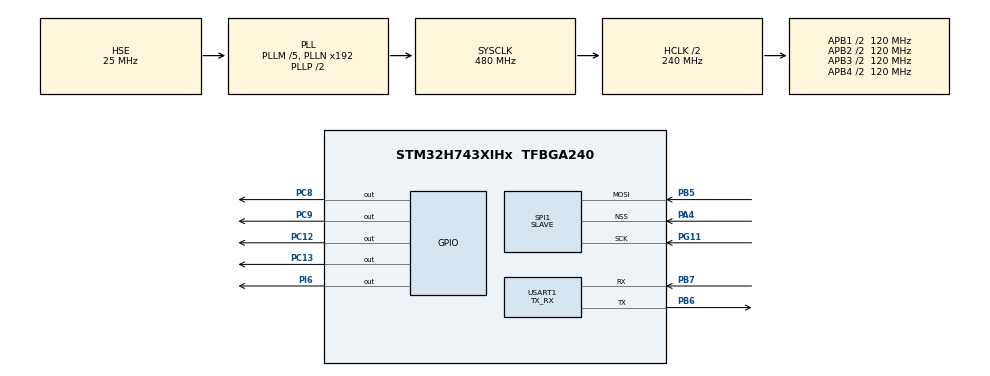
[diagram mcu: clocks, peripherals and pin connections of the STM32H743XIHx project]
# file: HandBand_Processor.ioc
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CORTEX_M7.CPU_DCache=Enabled
CORTEX_M7.CPU_ICache=Enabled
CORTEX_M7.default_mode_Activation=1
Dma.Request0=SPI1_RX
Dma.SPI1_RX.0.Direction=DMA_PERIPH_TO_MEMORY
Dma.SPI1_RX.0.EventEnable=DISABLE
Dma.SPI1_RX.0.FIFOMode=DMA_FIFOMODE_DISABLE
Dma.SPI1_RX.0.Instance=DMA1_Stream0
Dma.SPI1_RX.0.MemDataAlignment=DMA_MDATAALIGN_BYTE
Dma.SPI1_RX.0.MemInc=DMA_MINC_ENABLE
Dma.SPI1_RX.0.Mode=DMA_NORMAL
Dma.SPI1_RX.0.PeriphDataAlignment=DMA_PDATAALIGN_BYTE
Dma.SPI1_RX.0.PeriphInc=DMA_PINC_DISABLE
Dma.SPI1_RX.0.Polarity=HAL_DMAMUX_REQ_GEN_RISING
Dma.SPI1_RX.0.Priority=DMA_PRIORITY_LOW
Dma.SPI1_RX.0.RequestNumber=1
Dma.SPI1_RX.0.SignalID=NONE
Dma.SPI1_RX.0.SyncEnable=DISABLE
Dma.SPI1_RX.0.SyncPolarity=HAL_DMAMUX_SYNC_NO_EVENT
Dma.SPI1_RX.0.SyncRequestNumber=1
Dma.SPI1_RX.0.SyncSignalID=NONE
FREERTOS.Tasks01=defaultTask,0,128,StartDefaultTask,Default,NULL,Dynamic,NULL,NULL;ListenerTask,0,128,Listener,Default,NULL,Dynamic,NULL,NULL;ControllerTask,0,128,Controller,Default,NULL,Dynamic,NULL,NULL;PresenterTask,0,128,Presenter,Default,NULL,Dynamic,NULL,NULL
FREERTOS.configUSE_NEWLIB_REENTRANT=1
Mcu.Family=STM32H7
Mcu.Name=STM32H743XIHx
Mcu.Package=TFBGA240
NVIC.DMA1_Stream0_IRQn=true\:5\:0\:false\:false\:true\:true\:false\:true\:true
NVIC.PriorityGroup=NVIC_PRIORITYGROUP_4
NVIC.SPI1_IRQn=true\:5\:0\:false\:false\:true\:true\:true\:true\:true
NVIC.TIM17_IRQn=true\:15\:0\:false\:false\:true\:false\:false\:true\:true
NVIC.TimeBase=TIM17_IRQn
NVIC.TimeBaseIP=TIM17
NVIC.USART1_IRQn=true\:5\:0\:false\:false\:true\:true\:true\:true\:true
PA13\ (JTMS/SWDIO).Mode=Serial_Wire
PA13\ (JTMS/SWDIO).Signal=DEBUG_JTMS-SWDIO
PA14\ (JTCK/SWCLK).Mode=Serial_Wire
PA14\ (JTCK/SWCLK).Signal=DEBUG_JTCK-SWCLK
PA4.Mode=NSS_Signal_Hard_Input
PA4.Signal=SPI1_NSS
PB5.Mode=RX_Only_Simplex_Unidirect_Slave
PB5.Signal=SPI1_MOSI
PB6.Mode=Asynchronous
PB6.Signal=USART1_TX
PB7.Mode=Asynchronous
PB7.Signal=USART1_RX
PC12.Signal=GPIO_Output
PC13.Signal=GPIO_Output
PC8.Signal=GPIO_Output
PC9.Signal=GPIO_Output
PG11.Mode=RX_Only_Simplex_Unidirect_Slave
PG11.Signal=SPI1_SCK
PH0-OSC_IN\ (PH0).Mode=HSE-External-Oscillator
PH0-OSC_IN\ (PH0).Signal=RCC_OSC_IN
PH1-OSC_OUT\ (PH1).Mode=HSE-External-Oscillator
PH1-OSC_OUT\ (PH1).Signal=RCC_OSC_OUT
PI6.Signal=GPIO_Output
ProjectManager.HeapSize=0x200
ProjectManager.StackSize=0x400
ProjectManager.TargetToolchain=STM32CubeIDE
RCC.ADCFreq_Value=50390625
RCC.APB1Freq_Value=120000000
RCC.APB2Freq_Value=120000000
RCC.APB3Freq_Value=120000000
RCC.APB4Freq_Value=120000000
RCC.CortexFreq_Value=480000000
RCC.D1PPRE=RCC_APB3_DIV2
RCC.D2PPRE1=RCC_APB1_DIV2
RCC.D2PPRE2=RCC_APB2_DIV2
RCC.D3PPRE=RCC_APB4_DIV2
RCC.DIVM1=5
RCC.DIVM3=5
RCC.DIVN1=192
RCC.DIVN3=55
RCC.DIVP3=55
RCC.DIVQ1=5
RCC.HCLKFreq_Value=240000000
RCC.HPRE=RCC_HCLK_DIV2
RCC.PLL2FRACN=0
RCC.PLL3FRACN=0
RCC.PLLFRACN=0
RCC.PLLSourceVirtual=RCC_PLLSOURCE_HSE
RCC.SPI123CLockSelection=RCC_SPI123CLKSOURCE_PLL3
RCC.SYSCLKFreq_VALUE=480000000
RCC.SYSCLKSource=RCC_SYSCLKSOURCE_PLLCLK
RCC.USBFreq_Value=192000000
SPI1.DataSize=SPI_DATASIZE_8BIT
SPI1.Direction=SPI_DIRECTION_2LINES_RXONLY
SPI1.Mode=SPI_MODE_SLAVE
SPI1.VirtualNSS=VM_NSSHARD
SPI1.VirtualType=VM_SLAVE
USART1.Mode=MODE_TX_RX
USART1.VirtualMode-Asynchronous=VM_ASYNC
VP_FREERTOS_VS_CMSIS_V1.Mode=CMSIS_V1
VP_MEMORYMAP_VS_MEMORYMAP.Mode=CurAppReg
VP_SYS_VS_tim17.Mode=TIM17
board=custom

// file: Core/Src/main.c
/* USER CODE BEGIN Header */
/**
  ******************************************************************************
  * @file           : main.c
  * @brief          : Main program body
  ******************************************************************************
  * @attention
  *
  * Copyright (c) 2025 STMicroelectronics.
  * All rights reserved.
  *
  * This software is licensed under terms that can be found in the LICENSE file
  * in the root directory of this software component.
  * If no LICENSE file comes with this software, it is provided AS-IS.
  *
  ******************************************************************************
  */
/* USER CODE END Header */
#include "main.h"
#include "cmsis_os.h"
#include "dma.h"
#include "spi.h"
#include "usart.h"
#include "gpio.h"

/* USER CODE BEGIN Includes */
#include "Listener.h"
/* USER CODE END Includes */

void SystemClock_Config(void);
static void MPU_Config(void);
void MX_FREERTOS_Init(void);

/* USER CODE BEGIN 0 */
//**** HEEJU Additional SPI_DMA_CALLBACK *******/
//////
/////

int __io_putchar(int ch)
{
   HAL_UART_Transmit(&huart1, (uint8_t *)&ch, 1, 1000);
   return ch;
}

//SPI Callback
void HAL_SPI_RxCpltCallback(SPI_HandleTypeDef *hspi)
{

	if (hspi->Instance == SPI1) {
		rx_flag = 1;

//		tx_data = rx_data;
		char str[50];
		sprintf(str, "In callback: 0x%02X\r\n", rx_data);
		HAL_UART_Transmit(&huart1, (uint8_t *)str, strlen(str), 100);

		 HAL_SPI_Receive_DMA(&hspi1, &rx_data, 1);
		HAL_GPIO_TogglePin(GPIOC, GPIO_PIN_13);

//		HAL_SPI_Receive_DMA(&hspi1, (uint8_t *)&rx_data, 1);

//		HAL_SPI_TransmitReceive_DMA(&hspi1, &tx_data, &rx_data, 1);
//		if(rx_data == 0xaa){
//			HAL_GPIO_WritePin(GPIOC, GPIO_PIN_13, SET);
//		}
//		else if(rx_data == 0x55){
//			HAL_GPIO_WritePin(GPIOC, GPIO_PIN_13, RESET);
//		}

//		if(rx_data == 0xFF){
//			HAL_GPIO_WritePin(GPIOC, GPIO_PIN_9, SET);
//		}
//
//		else if(rx_data == 0x00){
//			HAL_GPIO_WritePin(GPIOC, GPIO_PIN_12, SET);
//		}
//
//		else{
//			HAL_GPIO_WritePin(GPIOI,GPIO_PIN_6, SET);  // 수신 완료 시 깜빡임
//		}
//	}
	}
}

/////test해볼것
//////////////error 확인할 수 있는 함수

//void HAL_SPI_RxCpltCallback(SPI_HandleTypeDef *hspi)
//{.
//	if (hspi->Instance == SPI1) {
//		 HAL_StatusTypeDef status = HAL_SPI_Receive_DMA(&hspi1, (uint8_t *)&rx_data, 1);
//		 if (status == HAL_OK) {
//			rx_flag = 1;
//
//			HAL_SPI_Receive_DMA(&hspi1, (uint8_t *)&rx_data, 1);
//			HAL_GPIO_TogglePin(GPIOC, GPIO_PIN_13);  // 수신 완료 시 깜빡임
//		 }
//	}
//	else{
//		rx_flag = 0;
//		HAL_GPIO_TogglePin(GPIOC, GPIO_PIN_8);
//	}
//}

//UART에도 Delay를 한번 걸어줌
//void HAL_UART_TxCpltCallback(UART_HandleTypeDef *huart)
//{
//    if (huart->Instance == USART1) {
//        uart_tx_busy = 0;  // 전송 완료 표시
//    }
//}

//SPI Error 확인위함
void HAL_SPI_ErrorCallback(SPI_HandleTypeDef *hspi)
{
    if (hspi->Instance == SPI1) {
        char str[50];
        int len = sprintf(str, "SPI Error: 0x%lx\n", hspi->ErrorCode);
        HAL_UART_Transmit_DMA(&huart1, (uint8_t*)str, len);
    }
}

/////
/////
/* USER CODE END 0 */

int main(void)
{

  /* MPU Configuration--------------------------------------------------------*/
  MPU_Config();

  /* Enable the CPU Cache */

  /* Enable I-Cache---------------------------------------------------------*/
  SCB_EnableICache();

  /* Enable D-Cache---------------------------------------------------------*/
  SCB_EnableDCache();

  /* MCU Configuration--------------------------------------------------------*/

  /* Reset of all peripherals, Initializes the Flash interface and the Systick. */
  HAL_Init();

  /* Configure the system clock */
  SystemClock_Config();

  /* Initialize all configured peripherals */
  MX_GPIO_Init();
  MX_DMA_Init();
  MX_SPI1_Init();
  MX_USART1_UART_Init();

  /* Call init function for freertos objects (in cmsis_os2.c) */
  MX_FREERTOS_Init();

  /* Start scheduler */
  osKernelStart();

  /* We should never get here as control is now taken by the scheduler */

  /* Infinite loop */
  while (1)
  {

  }
}

void SystemClock_Config(void)
{
  RCC_OscInitTypeDef RCC_OscInitStruct = {0};
  RCC_ClkInitTypeDef RCC_ClkInitStruct = {0};

  /** Supply configuration update enable
  */
  HAL_PWREx_ConfigSupply(PWR_LDO_SUPPLY);

  /** Configure the main internal regulator output voltage
  */
  __HAL_PWR_VOLTAGESCALING_CONFIG(PWR_REGULATOR_VOLTAGE_SCALE0);

  while(!__HAL_PWR_GET_FLAG(PWR_FLAG_VOSRDY)) {}

  /** Initializes the RCC Oscillators according to the specified parameters
  * in the RCC_OscInitTypeDef structure.
  */
  RCC_OscInitStruct.OscillatorType = RCC_OSCILLATORTYPE_HSE;
  RCC_OscInitStruct.HSEState = RCC_HSE_ON;
  RCC_OscInitStruct.PLL.PLLState = RCC_PLL_ON;
  RCC_OscInitStruct.PLL.PLLSource = RCC_PLLSOURCE_HSE;
  RCC_OscInitStruct.PLL.PLLM = 5;
  RCC_OscInitStruct.PLL.PLLN = 192;
  RCC_OscInitStruct.PLL.PLLP = 2;
  RCC_OscInitStruct.PLL.PLLQ = 5;
  RCC_OscInitStruct.PLL.PLLR = 2;
  RCC_OscInitStruct.PLL.PLLRGE = RCC_PLL1VCIRANGE_2;
  RCC_OscInitStruct.PLL.PLLVCOSEL = RCC_PLL1VCOWIDE;
  RCC_OscInitStruct.PLL.PLLFRACN = 0;
  if (HAL_RCC_OscConfig(&RCC_OscInitStruct) != HAL_OK)
  {
    Error_Handler();
  }

  /** Initializes the CPU, AHB and APB buses clocks
  */
  RCC_ClkInitStruct.ClockType = RCC_CLOCKTYPE_HCLK|RCC_CLOCKTYPE_SYSCLK
                              |RCC_CLOCKTYPE_PCLK1|RCC_CLOCKTYPE_PCLK2
                              |RCC_CLOCKTYPE_D3PCLK1|RCC_CLOCKTYPE_D1PCLK1;
  RCC_ClkInitStruct.SYSCLKSource = RCC_SYSCLKSOURCE_PLLCLK;
  RCC_ClkInitStruct.SYSCLKDivider = RCC_SYSCLK_DIV1;
  RCC_ClkInitStruct.AHBCLKDivider = RCC_HCLK_DIV2;
  RCC_ClkInitStruct.APB3CLKDivider = RCC_APB3_DIV2;
  RCC_ClkInitStruct.APB1CLKDivider = RCC_APB1_DIV2;
  RCC_ClkInitStruct.APB2CLKDivider = RCC_APB2_DIV2;
  RCC_ClkInitStruct.APB4CLKDivider = RCC_APB4_DIV2;

  if (HAL_RCC_ClockConfig(&RCC_ClkInitStruct, FLASH_LATENCY_4) != HAL_OK)
  {
    Error_Handler();
  }
}

 /* MPU Configuration */

void MPU_Config(void)
{
  MPU_Region_InitTypeDef MPU_InitStruct = {0};

  /* Disables the MPU */
  HAL_MPU_Disable();

  /** Initializes and configures the Region and the memory to be protected
  */
  MPU_InitStruct.Enable = MPU_REGION_ENABLE;
  MPU_InitStruct.Number = MPU_REGION_NUMBER0;
  MPU_InitStruct.BaseAddress = 0x0;
  MPU_InitStruct.Size = MPU_REGION_SIZE_4GB;
  MPU_InitStruct.SubRegionDisable = 0x87;
  MPU_InitStruct.TypeExtField = MPU_TEX_LEVEL0;
  MPU_InitStruct.AccessPermission = MPU_REGION_NO_ACCESS;
  MPU_InitStruct.DisableExec = MPU_INSTRUCTION_ACCESS_DISABLE;
  MPU_InitStruct.IsShareable = MPU_ACCESS_SHAREABLE;
  MPU_InitStruct.IsCacheable = MPU_ACCESS_NOT_CACHEABLE;
  MPU_InitStruct.IsBufferable = MPU_ACCESS_NOT_BUFFERABLE;

  HAL_MPU_ConfigRegion(&MPU_InitStruct);
  /* Enables the MPU */
  HAL_MPU_Enable(MPU_PRIVILEGED_DEFAULT);

}

void HAL_TIM_PeriodElapsedCallback(TIM_HandleTypeDef *htim)
{
  if (htim->Instance == TIM17)
  {
    HAL_IncTick();
  }
}

void Error_Handler(void)
{
  __disable_irq();
  while (1)
  {
  }
}

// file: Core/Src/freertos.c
/* USER CODE BEGIN Header */
/**
  ******************************************************************************
  * File Name          : freertos.c
  * Description        : Code for freertos applications
  ******************************************************************************
  * @attention
  *
  * Copyright (c) 2025 STMicroelectronics.
  * All rights reserved.
  *
  * This software is licensed under terms that can be found in the LICENSE file
  * in the root directory of this software component.
  * If no LICENSE file comes with this software, it is provided AS-IS.
  *
  ******************************************************************************
  */
/* USER CODE END Header */

#include "FreeRTOS.h"
#include "task.h"
#include "main.h"
#include "cmsis_os.h"

/* USER CODE BEGIN Includes */
#include "Listener.h"
#include "Controller.h"
#include "Presenter.h"
#include "LC_Model.h"
/* USER CODE END Includes */

osThreadId defaultTaskHandle;
osThreadId ListenerTaskHandle;
osThreadId ControllerTaskHandle;
osThreadId PresenterTaskHandle;

void StartDefaultTask(void const * argument);
void Listener(void const * argument);
void Controller(void const * argument);
void Presenter(void const * argument);

void MX_FREERTOS_Init(void); /* (MISRA C 2004 rule 8.1) */

/* GetIdleTaskMemory prototype (linked to static allocation support) */
void vApplicationGetIdleTaskMemory( StaticTask_t **ppxIdleTaskTCBBuffer, StackType_t **ppxIdleTaskStackBuffer, uint32_t *pulIdleTaskStackSize );

/* USER CODE BEGIN GET_IDLE_TASK_MEMORY */
static StaticTask_t xIdleTaskTCBBuffer;
static StackType_t xIdleStack[configMINIMAL_STACK_SIZE];

void vApplicationGetIdleTaskMemory( StaticTask_t **ppxIdleTaskTCBBuffer, StackType_t **ppxIdleTaskStackBuffer, uint32_t *pulIdleTaskStackSize )
{
  *ppxIdleTaskTCBBuffer = &xIdleTaskTCBBuffer;
  *ppxIdleTaskStackBuffer = &xIdleStack[0];
  *pulIdleTaskStackSize = configMINIMAL_STACK_SIZE;
  /* place for user code */
}
/* USER CODE END GET_IDLE_TASK_MEMORY */

void MX_FREERTOS_Init(void) {

  /* Create the thread(s) */
  /* definition and creation of defaultTask */
  osThreadDef(defaultTask, StartDefaultTask, osPriorityNormal, 0, 128);
  defaultTaskHandle = osThreadCreate(osThread(defaultTask), NULL);

  /* definition and creation of ListenerTask */
  osThreadDef(ListenerTask, Listener, osPriorityNormal, 0, 128);
  ListenerTaskHandle = osThreadCreate(osThread(ListenerTask), NULL);

  /* definition and creation of ControllerTask */
  osThreadDef(ControllerTask, Controller, osPriorityNormal, 0, 128);
  ControllerTaskHandle = osThreadCreate(osThread(ControllerTask), NULL);

  /* definition and creation of PresenterTask */
  osThreadDef(PresenterTask, Presenter, osPriorityNormal, 0, 128);
  PresenterTaskHandle = osThreadCreate(osThread(PresenterTask), NULL);

}

void StartDefaultTask(void const * argument)
{
  for(;;)
  {
    osDelay(1);
  }
}

void Listener(void const * argument)
{
  /* USER CODE BEGIN Listener */
	Listener_Init();
  /* Infinite loop */
  for(;;)
  {
		Listener_Execute();
		osDelay(1);
  }
  /* USER CODE END Listener */
}

void Controller(void const * argument)
{
  /* USER CODE BEGIN Controller */
	controller_init();
  /* Infinite loop */
  for(;;)
  {
	controller_excute();
    osDelay(1);
  }
  /* USER CODE END Controller */
}

void Presenter(void const * argument)
{
  /* USER CODE BEGIN Presenter */
	Presenter_Init();
  /* Infinite loop */
  for(;;)
  {
	Presenter_Execute();
    osDelay(1);
  }
  /* USER CODE END Presenter */
}
